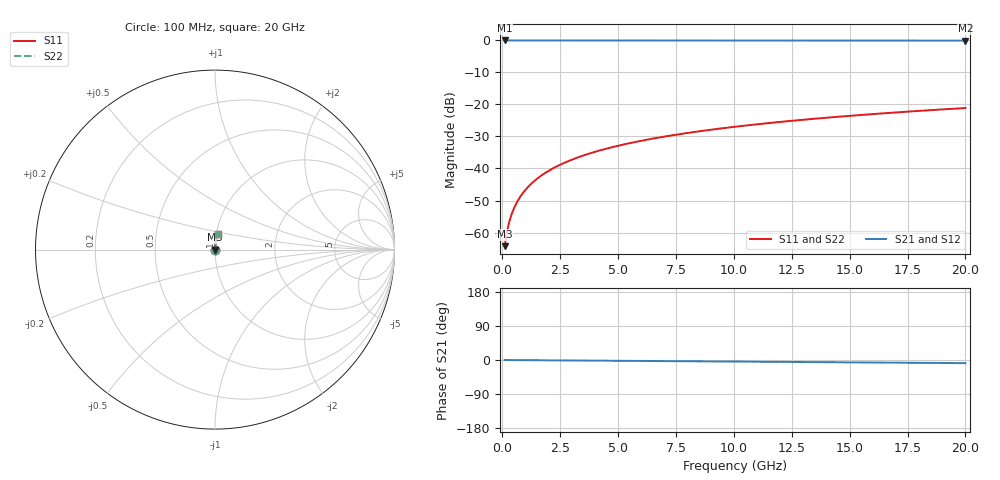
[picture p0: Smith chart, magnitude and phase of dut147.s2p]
! Touchstone file exported from HFSS 2026.1.0
!  File:  C:/ffzhzh/LocalFiles/Ansys_Project_Files/temp_train_TSV_147_1782990526_41620.aedt
!  Generated:  07:10:42 PM Jul  2, 2026
!  Design:  TSV
!  Project:  temp_train_TSV_147_1782990526_41620
! Variables:
!  h_bsmrdl = 2um
!  h_ox = 20um
!  h_rdl = 5um
!  h_sub = 57.75um
!  h_tmrdl = 5um
!  h_tsv = 57.75um
!  h_via = 3um
!  l_bsmrdl = 300um
!  l_sub = 408.64um
!  l_tmrdl = 200um
!  m_sub = 200um
!  pitch = 51.68um
!  r_tsv = 4.32um
!  s_tmrdl = 10um
!  w_bsmrdl = 18um
!  w_sub = 500um
!  w_tmrdl = 12um
!  x_tsv_center1 = 206um
!  x_tsv_center2 = 524um
!  x_tsv_center3 = 736um
!  x_tsv_center4 = 1054um
!  x_tsv_center5 = 1266um
!  x_tsv_center6 = 1584um
# GHz S MA R 50.000000
! Terminal data exported
! Port[1] = TSV1_1_T1
! Port[2] = TSV1_1_T2
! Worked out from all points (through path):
!   200 points, 100 MHz to 20 GHz, reference 50 ohm
!   highest |S21| = 0.00 dB at 100 MHz (marker M1); lowest = 0.0 dB at 20 GHz (marker M2)
!   group delay of S21, straight-line fit = 1.15 ps
!   lowest |S11| = -64.3 dB at 100 MHz (marker M3), VSWR 1.00, Z = 50 + j0.0474 ohm
!   |S11| at or under -10 dB: start of sweep to end of sweep
!   |S22| runs from -64.3 to -21.1 dB; largest |S21 - S12| = 5.4e-15
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0.1  0.0006121 50.7  0.9996 -0.0  0.9996 -0.0  0.0006121 50.7
! Gamma 0 0 0 0
! Port Impedance 50 0 50 0
0.2  0.001024 67.1  0.9996 -0.1  0.9996 -0.1  0.001024 67.1
0.3  0.001467 73.7  0.9996 -0.1  0.9996 -0.1  0.001467 73.7
0.4  0.001916 77.2  0.9996 -0.2  0.9996 -0.2  0.001916 77.2
0.5  0.002368 79.4  0.9996 -0.2  0.9996 -0.2  0.002368 79.4
0.7  0.003274 81.9  0.9995 -0.3  0.9995 -0.3  0.003274 81.9
0.8  0.003727 82.7  0.9995 -0.3  0.9995 -0.3  0.003727 82.7
1  0.004636 83.8  0.9995 -0.4  0.9995 -0.4  0.004636 83.8
1.2  0.005546 84.5  0.9995 -0.5  0.9995 -0.5  0.005546 84.5
1.4  0.006456 85.0  0.9995 -0.6  0.9995 -0.6  0.006456 85.0
1.7  0.007821 85.5  0.9994 -0.7  0.9994 -0.7  0.007821 85.5
2  0.009184 85.8  0.9994 -0.8  0.9994 -0.8  0.009184 85.8
2.7  0.01235 86.0  0.9993 -1.1  0.9993 -1.1  0.01235 86.0
3.5  0.01596 86.0  0.9992 -1.5  0.9992 -1.5  0.01596 86.0
4.2  0.01909 85.9  0.999 -1.8  0.999 -1.8  0.01909 85.9
5  0.02265 85.7  0.9989 -2.1  0.9989 -2.1  0.02265 85.7
6.8  0.03062 85.2  0.9985 -2.8  0.9985 -2.8  0.03062 85.2
8.3  0.03721 84.7  0.9981 -3.5  0.9981 -3.5  0.03721 84.7
10.1  0.0451 84.2  0.9977 -4.2  0.9977 -4.2  0.0451 84.2
13.4  0.0595 83.0  0.9968 -5.6  0.9968 -5.6  0.0595 83.0
16.7  0.07381 81.8  0.9956 -6.9  0.9956 -6.9  0.07381 81.8
20  0.08803 80.6  0.9943 -8.3  0.9943 -8.3  0.08803 80.6
